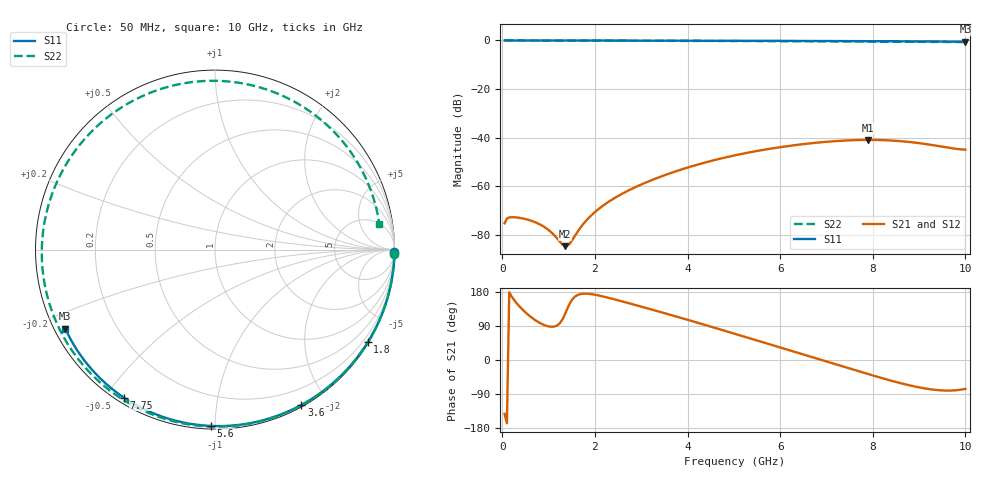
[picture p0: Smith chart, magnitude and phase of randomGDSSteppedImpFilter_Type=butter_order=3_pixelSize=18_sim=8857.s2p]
! freq	dB(S11)	phase(S11)	dB(S12)	phase(S12)
!  dB(S21)	phase(S21)	dB(S22)	phase(S22)
!S-par simulation data
#  GHz  S  DB  R 50
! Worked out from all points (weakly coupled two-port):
!   200 points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, 50 MHz to 10 GHz, reference 50 ohm
!   highest |S21| = -40.93 dB at 7.9 GHz (marker M1); lowest = -84.7 dB at 1.35 GHz (marker M2)
!   lowest |S11| = -0.5 dB at 10 GHz (marker M3), VSWR 34.17, Z = 1.55 - j12.4 ohm
!   |S11| at or under -10 dB: nowhere
!   |S22| runs from -0.7 to 0.0 dB; largest |S21 - S12| = 0
!   S11 on the Smith chart (normalised r, x): 50 MHz: open; 1.8 GHz: 0.03, -3.57; 3.6 GHz: 0.02, -1.70; 5.6 GHz: 0.02, -0.98; 7.75 GHz: 0.02, -0.56; 10 GHz: 0.03, -0.25
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0.05  -0.00 -0.9  -75.25 -142.1  -75.25 -142.1  -0.00 -1.5
0.15  -0.00 -2.7  -72.86 178.7  -72.86 178.7  -0.00 -4.6
0.4  -0.00 -7.1  -73.11 137.6  -73.11 137.6  -0.01 -12.4
0.8  -0.01 -14.1  -75.60 98.5  -75.60 98.5  -0.03 -24.6
1.1  -0.02 -19.3  -79.75 87.9  -79.75 87.9  -0.04 -33.7
1.35  -0.03 -23.6  -84.68 119.8  -84.68 119.8  -0.05 -41.2
1.6  -0.04 -27.9  -79.47 169.8  -79.47 169.8  -0.06 -48.7
1.75  -0.04 -30.4  -75.53 175.0  -75.53 175.0  -0.07 -53.1
1.8  -0.04 -31.3  -74.41 175.2  -74.41 175.2  -0.07 -54.6
2.45  -0.05 -42.2  -64.59 159.2  -64.59 159.2  -0.09 -73.6
3.4  -0.08 -57.7  -56.20 127.2  -56.20 127.2  -0.13 -100.7
3.6  -0.08 -60.9  -54.82 120.2  -54.82 120.2  -0.14 -106.4
5.05  -0.13 -83.3  -47.17 68.1  -47.17 68.1  -0.23 -148.2
5.6  -0.15 -91.4  -45.15 47.8  -45.15 47.8  -0.27 -164.9
6.7  -0.21 -107.1  -42.26 7.4  -42.26 7.4  -0.37 158.2
7.2  -0.24 -114.0  -41.43 -11.1  -41.43 -11.1  -0.42 139.4
7.75  -0.28 -121.6  -40.96 -31.6  -40.96 -31.6  -0.48 116.6
7.9  -0.29 -123.6  -40.93 -37.1  -40.93 -37.1  -0.49 110.1
8.35  -0.33 -129.7  -41.14 -53.0  -41.14 -53.0  -0.53 89.5
9.1  -0.41 -139.9  -42.53 -74.5  -42.53 -74.5  -0.59 53.0
9.55  -0.45 -146.0  -43.89 -80.6  -43.89 -80.6  -0.63 30.6
10  -0.51 -152.2  -44.96 -76.3  -44.96 -76.3  -0.66 8.9
